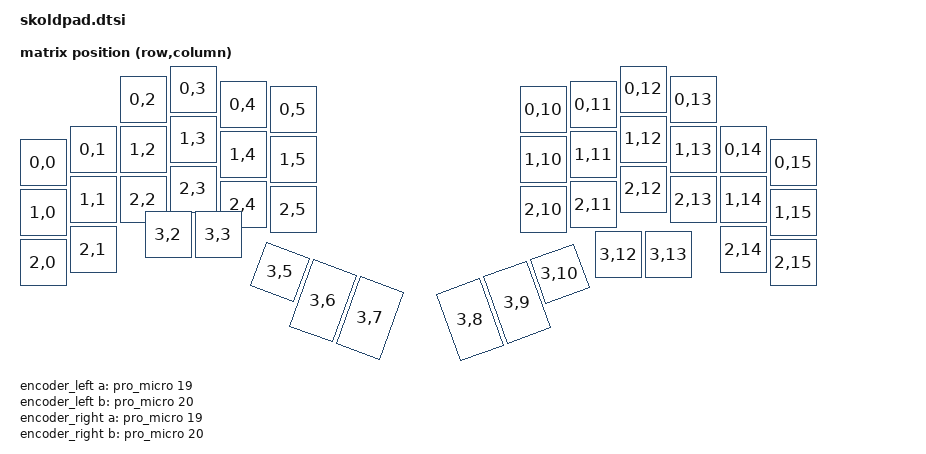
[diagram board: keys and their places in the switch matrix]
#include <dt-bindings/zmk/matrix_transform.h>
#include <physical_layouts.dtsi>

/ {
    chosen {
        zmk,kscan = &kscan0;
        zmk,matrix_transform = &default_transform;
    };

    // Physical layout for ZMK Studio. Key positions and sizes are in
    // 1/100 keyunit; rotation in 1/100 degree. Derived from the
    // geometry in config/skoldpad.json. Order matches default_transform.
    physical_layout0: physical_layout_0 {
        compatible = "zmk,physical-layout";
        display-name = "Skoldpad";
        transform = <&default_transform>;
        kscan = <&kscan0>;

        keys  //                     w   h    x    y     rot    rx    ry
            = <&key_physical_attrs 100 100    0    0       0     0     0>
            , <&key_physical_attrs 100 100  100 (-26)      0     0     0>
            , <&key_physical_attrs 100 100  200 (-126)     0     0     0>
            , <&key_physical_attrs 100 100  300 (-147)     0     0     0>
            , <&key_physical_attrs 100 100  400 (-116)     0     0     0>
            , <&key_physical_attrs 100 100  500 (-106)     0     0     0>
            , <&key_physical_attrs 100 100 1000 (-106)     0     0     0>
            , <&key_physical_attrs 100 100 1100 (-116)     0     0     0>
            , <&key_physical_attrs 100 100 1200 (-147)     0     0     0>
            , <&key_physical_attrs 100 100 1300 (-126)     0     0     0>
            , <&key_physical_attrs 100 100 1400 (-26)      0     0     0>
            , <&key_physical_attrs 100 100 1500    0       0     0     0>
            , <&key_physical_attrs 100 100    0  100       0     0     0>
            , <&key_physical_attrs 100 100  100   74       0     0     0>
            , <&key_physical_attrs 100 100  200 (-26)      0     0     0>
            , <&key_physical_attrs 100 100  300 (-47)      0     0     0>
            , <&key_physical_attrs 100 100  400 (-16)      0     0     0>
            , <&key_physical_attrs 100 100  500 (-6)       0     0     0>
            , <&key_physical_attrs 100 100 1000 (-6)       0     0     0>
            , <&key_physical_attrs 100 100 1100 (-16)      0     0     0>
            , <&key_physical_attrs 100 100 1200 (-47)      0     0     0>
            , <&key_physical_attrs 100 100 1300 (-26)      0     0     0>
            , <&key_physical_attrs 100 100 1400   74       0     0     0>
            , <&key_physical_attrs 100 100 1500  100       0     0     0>
            , <&key_physical_attrs 100 100    0  200       0     0     0>
            , <&key_physical_attrs 100 100  100  174       0     0     0>
            , <&key_physical_attrs 100 100  200   74       0     0     0>
            , <&key_physical_attrs 100 100  300   53       0     0     0>
            , <&key_physical_attrs 100 100  400   84       0     0     0>
            , <&key_physical_attrs 100 100  500   94       0     0     0>
            , <&key_physical_attrs 100 100 1000   94       0     0     0>
            , <&key_physical_attrs 100 100 1100   84       0     0     0>
            , <&key_physical_attrs 100 100 1200   53       0     0     0>
            , <&key_physical_attrs 100 100 1300   74       0     0     0>
            , <&key_physical_attrs 100 100 1400  174       0     0     0>
            , <&key_physical_attrs 100 100 1500  200       0     0     0>
            , <&key_physical_attrs 100 100  250  144       0     0     0>
            , <&key_physical_attrs 100 100  350  144       0     0     0>
            , <&key_physical_attrs 100 100  450  144    2000   300   300>
            , <&key_physical_attrs 100 150  550  144    2000   300   300>
            , <&key_physical_attrs 100 150  650  144    2000   300   300>
            , <&key_physical_attrs 100 150  850  184  (-2000) 1200   300>
            , <&key_physical_attrs 100 150  950  184  (-2000) 1200   300>
            , <&key_physical_attrs 100 100 1050  184  (-2000) 1200   300>
            , <&key_physical_attrs 100 100 1150  184       0     0     0>
            , <&key_physical_attrs 100 100 1250  184       0     0     0>
            ;
    };

    default_transform: keymap_transform_0 {
        compatible = "zmk,matrix-transform";
        rows = <4>;
        columns = <16>;

        map = <
        RC(0,0) RC(0,1) RC(0,2) RC(0,3) RC(0,4) RC(0,5)                                  RC(0,10) RC(0,11) RC(0,12) RC(0,13) RC(0,14) RC(0,15) 
        RC(1,0) RC(1,1) RC(1,2) RC(1,3) RC(1,4) RC(1,5)                                  RC(1,10) RC(1,11) RC(1,12) RC(1,13) RC(1,14) RC(1,15) 
        RC(2,0) RC(2,1) RC(2,2) RC(2,3) RC(2,4) RC(2,5)                                  RC(2,10) RC(2,11) RC(2,12) RC(2,13) RC(2,14) RC(2,15) 
                        RC(3,2) RC(3,3)         RC(3,5) RC(3,6) RC(3,7)  RC(3,8) RC(3,9) RC(3,10)          RC(3,12) RC(3,13)
        >;
    };

    kscan0: kscan {
        compatible = "zmk,kscan-gpio-matrix";
        label = "KSCAN";
    };

    encoder_left: encoder_left {
        compatible = "alps,ec11";
        label = "LEFT_ENCODER";
        a-gpios = <&pro_micro 19 (GPIO_ACTIVE_HIGH | GPIO_PULL_UP)>;
        b-gpios = <&pro_micro 20 (GPIO_ACTIVE_HIGH | GPIO_PULL_UP)>;
        steps = <30>;
        status = "disabled";
    };

    encoder_right: encoder_right {
        compatible = "alps,ec11";
        label = "RIGHT_ENCODER";
        a-gpios = <&pro_micro 19 (GPIO_ACTIVE_HIGH | GPIO_PULL_UP)>;
        b-gpios = <&pro_micro 20 (GPIO_ACTIVE_HIGH | GPIO_PULL_UP)>;
        steps = <30>;
        status = "disabled";
    };

    sensors {
        compatible = "zmk,keymap-sensors";
        sensors = <&encoder_left &encoder_right>;
        triggers-per-rotation = <15>;
    };
};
